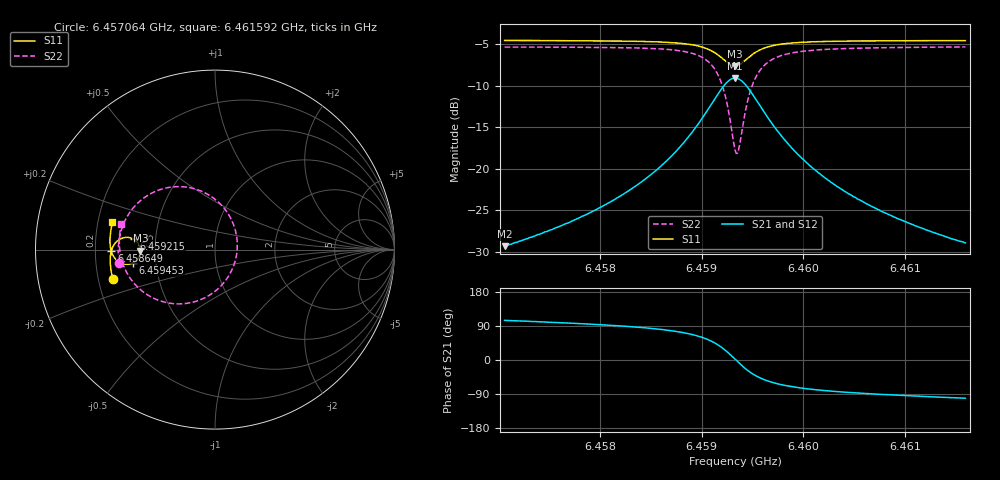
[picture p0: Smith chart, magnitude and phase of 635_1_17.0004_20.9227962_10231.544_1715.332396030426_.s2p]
#  HZ  S  RI  R  50.00
! Rohde & Schwarz Vector Network Analyzer
! Rohde-Schwarz,ZNB20-2Port,1311601062101988,3.16
! Created: UTC 3/20/2024, 11:20:35 PM
! freq[Hz]  re:S11  im:S11  re:S21  im:S21  re:S12  im:S12  re:S22  im:S22
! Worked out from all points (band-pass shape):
!   401 points, 6.457064 GHz to 6.461592 GHz, reference 50 ohm
!   highest |S21| = -9.08 dB at 6.459328 GHz (marker M1); lowest = -29.3 dB at 6.457064 GHz (marker M2)
!   |S21| within 3 dB of the highest: 6.459103 GHz to 6.459556 GHz (452.8 kHz wide, 0.00701 % of centre)
!   lowest |S11| = -7.6 dB at 6.459328 GHz (marker M3), VSWR 2.42, Z = 20.7 - j0.318 ohm
!   |S11| at or under -10 dB: nowhere
!   |S22| runs from -18.1 to -5.3 dB; largest |S21 - S12| = 0.014
!   S11 on the Smith chart (normalised r, x): 6.457064 GHz: 0.26, -0.13; 6.458649 GHz: 0.27, -0.00; 6.459215 GHz: 0.38, +0.05; 6.459453 GHz: 0.37, -0.07; 6.461592 GHz: 0.26, +0.12
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6.4570637e9  -0.5686 -0.1652  -0.00875 0.0331  -0.00678 0.033  -0.5345 -0.0767
6.4578222e9  -0.5817 -0.0986  -0.00513 0.0514  -0.00251 0.0505  -0.5388 0.0133
6.4582298e9  -0.5841 -0.0575  0.000712 0.0702  0.00407 0.0689  -0.5301 0.0786
6.4585808e9  -0.5799 -0.0155  0.0153 0.1001  0.0193 0.0973  -0.5029 0.1586
6.4586487e9  -0.5774 -0.00594  0.0209 0.1086  0.0249 0.1052  -0.4926 0.1786
6.4588412e9  -0.5645 0.0244  0.0479 0.1397  0.052 0.1346  -0.4417 0.2482
6.4589884e9  -0.5414 0.0506  0.0939 0.1701  0.097 0.1635  -0.3568 0.3126
6.4591242e9  -0.4971 0.068  0.182 0.1868  0.1828 0.1794  -0.1954 0.3509
6.4592148e9  -0.452 0.0576  0.2729 0.1552  0.2731 0.1495  -0.0267 0.2996
6.4592827e9  -0.4224 0.0252  0.3345 0.0826  0.3367 0.0773  0.0909 0.1683
6.459328e9  -0.4154 -0.00637  0.3514 0.0137  0.3552 0.00665  0.124 0.0391
6.459362e9  -0.4191 -0.0306  0.3456 -0.0399  0.3498 -0.0489  0.1128 -0.0625
6.4594073e9  -0.4349 -0.0573  0.3167 -0.1011  0.3192 -0.1131  0.054 -0.1784
6.4594526e9  -0.4572 -0.0742  0.2738 -0.143  0.2732 -0.1565  -0.0329 -0.2553
6.4595431e9  -0.5014 -0.0814  0.1871 -0.1748  0.1808 -0.1866  -0.2061 -0.3025
6.4596111e9  -0.5262 -0.074  0.1375 -0.1726  0.1294 -0.1818  -0.3019 -0.2868
6.4596903e9  -0.5461 -0.0609  0.0973 -0.1603  0.0885 -0.1668  -0.3777 -0.2511
6.4598488e9  -0.568 -0.033  0.0515 -0.1315  0.0437 -0.1344  -0.4596 -0.1774
6.4600866e9  -0.5808 0.00266  0.0222 -0.0991  0.016 -0.0997  -0.508 -0.0932
6.4604262e9  -0.5854 0.0435  0.00598 -0.0716  0.00185 -0.0712  -0.5293 -0.0131
6.4608451e9  -0.5834 0.0858  -0.00176 -0.0529  -0.00459 -0.0518  -0.5332 0.0553
6.4615924e9  -0.5712 0.1523  -0.00682 -0.0351  -0.00847 -0.0341  -0.5216 0.1448
